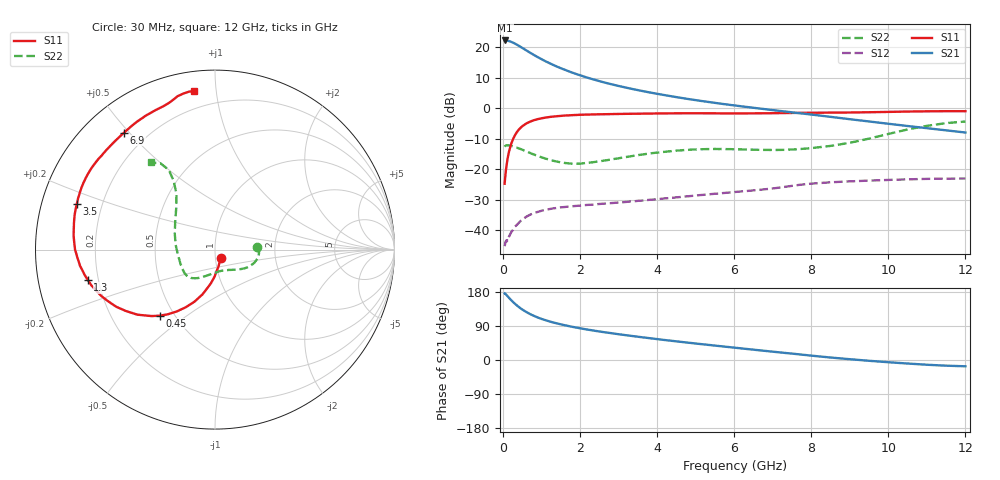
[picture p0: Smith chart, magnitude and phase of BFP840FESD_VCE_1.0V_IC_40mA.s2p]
! Infineon Technologies  Discrete & RF Semiconductors
! BFP840FESD
! VCE =  1.0 V,  IC =  40 mA
! Common Emitter S-Parameters:  May 2012
# GHz  S  MA  R  50
!  f  S11  S21  S12  S22
! GHz  MAG  ANG  MAG  ANG  MAG  ANG  MAG  ANG
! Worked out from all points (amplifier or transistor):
!   103 points, 30 MHz to 12 GHz, reference 50 ohm
!   highest |S21| = 22.2 dB at 40 MHz (marker M1)
!   |S21| within 3 dB of that: start of sweep to 561.8 MHz
!   unconditionally stable (mu >= 1): start of sweep to end of sweep
!   at 400 MHz: K = 2.72, MAG = 21.8 dB, |S12| = -37.5 dB
!   at 3.7 GHz: K = 2.76, MAG = 10.5 dB, |S12| = -30.1 dB
!   at 12 GHz: K = 2.76, MAG = 0.3 dB, |S12| = -23.0 dB
!   S11 on the Smith chart (normalised r, x): 30 MHz: 1.06, -0.10; 450 MHz: 0.42, -0.40; 1.3 GHz: 0.16, -0.11; 3.5 GHz: 0.11, +0.16; 6.9 GHz: 0.12, +0.48; 12 GHz: 0.10, +0.87
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0.03  0.0578 -56.5  12.81 175.6  0.0055 26.9  0.2344 3.0
0.04  0.0673 -65.2  12.83 174.5  0.0058 25.7  0.2388 1.8
0.05  0.0788 -72.0  12.8 174.8  0.0064 26.9  0.2405 0.7
0.13  0.1754 -95.1  12.6 165.6  0.0075 32.6  0.2453 -6.6
0.2  0.259 -105.6  12.17 158.1  0.0093 37.4  0.2415 -11.8
0.25  0.3127 -111.6  11.81 153.0  0.0102 40.0  0.2367 -15.0
0.35  0.4059 -121.8  10.94 143.9  0.0123 40.6  0.2254 -20.9
0.45  0.4807 -130.0  10.03 136.0  0.0143 41.3  0.2133 -25.9
0.6  0.5641 -140.0  8.773 126.2  0.0168 39.7  0.1951 -32.3
0.8  0.6369 -150.1  7.369 116.1  0.0193 37.1  0.1732 -39.5
1  0.6848 -157.9  6.276 108.1  0.021 35.1  0.156 -46.0
1.3  0.7285 -166.6  5.075 98.8  0.0229 33.1  0.1372 -55.6
1.7  0.7625 -175.1  3.999 89.4  0.0245 31.7  0.1244 -70.1
2.1  0.7824 178.5  3.276 81.7  0.0258 31.7  0.1257 -84.6
2.7  0.797 170.6  2.556 72.2  0.0276 33.1  0.1411 -101.1
3.5  0.8114 161.6  1.968 61.3  0.0304 35.4  0.1703 -115.6
4.1  0.8199 155.2  1.671 53.8  0.0328 37.4  0.1905 -123.3
6.1  0.8209 136.3  1.088 31.5  0.0429 39.7  0.2118 -147.6
6.9  0.8252 127.8  0.944 23.0  0.0477 40.7  0.2069 -162.9
8.5  0.8448 113.0  0.72 6.5  0.0611 34.0  0.2409 158.5
10.5  0.8797 103.7  0.51 -9.3  0.0683 25.4  0.448 121.0
12  0.8911 97.7  0.399 -16.6  0.0705 22.1  0.604 126.5
